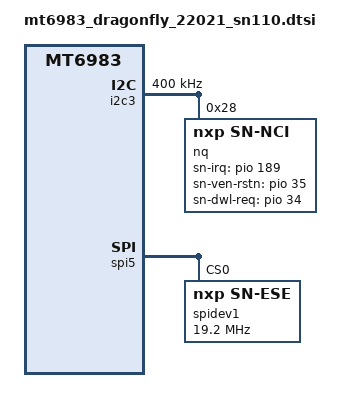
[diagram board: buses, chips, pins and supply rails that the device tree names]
/**********************************************************************************
* Copyright (c)  2008-2020  Guangdong oplus Mobile Comm Corp., Ltd
*
***********************************************************************************/
&odm {
	nfc_chipset:nfc_chipset {
		compatible = "oplus-nfc-chipset";
		chipset-22021 = "SN110T";
		chipset-22221 = "SN110T";
	};
};

&clock_buffer_ctrl {
	mediatek,xo-bbck4 = <1>;
};

&i2c3 {
       status = "okay";
       clock-frequency = <400000>;
       nq@28 {
		compatible = "nxp,sn-nci";
		reg = <0x28>;
		nxp,sn-irq = <&pio 189 0x0>;
		nxp,sn-ven-rstn = <&pio 35 0x0>;
		nxp,sn-dwl-req = <&pio 34 0x0>;
		interrupt-parent = <&pio>;
       };
};

&spi5 {
       status = "okay";
       #address-cells = <1>;
       #size-cells = <0>;
       spidev1: p61@1 {
       compatible = "nxp,sn-ese";
       reg = <0>;
       spi-max-frequency = <19200000>;
       nxp,nfcc = "3-0028";
       };
};
